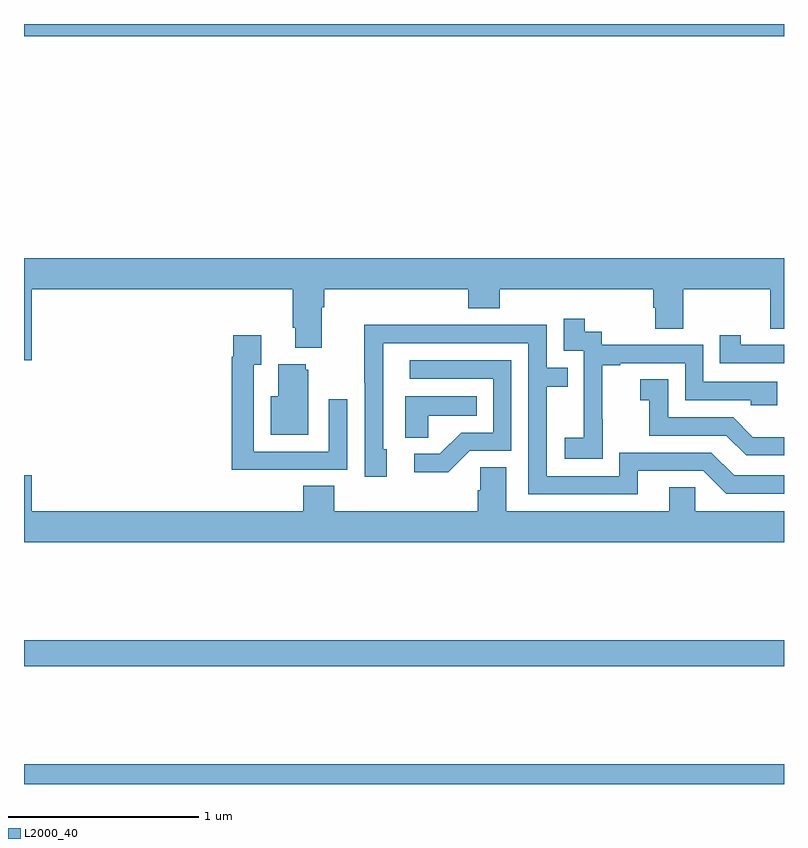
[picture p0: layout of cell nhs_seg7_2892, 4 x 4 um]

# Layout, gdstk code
import gdstk
lib = gdstk.Library(unit=1e-6, precision=1e-09)
def R(c, l, rs):  # rectangles x0, y0, x1, y1
    for r in rs: c.add(gdstk.rectangle(r[:2], r[2:], *l))
def P(c, l, *ps):  # polygons
    for p in ps: c.add(gdstk.Polygon(p, *l))
L2000_40 = (2000, 40)

nhs_seg7_2892 = lib.new_cell('nhs_seg7_2892')
R(nhs_seg7_2892, L2000_40, [(297,1010,301,1010.104), (297,1010.62,301,1010.756), (297,1013.936,301,1014)])
P(nhs_seg7_2892, L2000_40, [(297,1012.23),(297.04,1012.23),(297.04,1012.604),(298.415,1012.604),(298.415,1012.402),(298.427,1012.402),(298.427,1012.295),(298.567,1012.295),(298.567,1012.508),(298.58,1012.508),(298.58,1012.604),(299.339,1012.604),(299.339,1012.505),(299.504,1012.505),(299.504,1012.604),(300.311,1012.604),(300.311,1012.506),(300.323,1012.506),(300.323,1012.396),(300.471,1012.396),(300.471,1012.604),(300.928,1012.604),(300.928,1012.396),(301,1012.396),(301,1012.768),(297,1012.768)],
  [(300.045,1011.919),(300.044,1011.919),(300.044,1012.203),(300.139,1012.203),(300.139,1012.215),(300.48,1012.215),(300.48,1012.02),(300.825,1012.02),(300.825,1011.993),(300.965,1011.993),(300.965,1012.116),(300.576,1012.116),(300.576,1012.311),(300.042,1012.311),(300.042,1012.38),(299.95,1012.38),(299.95,1012.45),(299.841,1012.45),(299.841,1012.281),(299.946,1012.281),(299.946,1012.052),(299.945,1012.052),(299.945,1011.823),(299.847,1011.823),(299.847,1011.713),(300.045,1011.713)],
  [(300.229,1011.648),(300.576,1011.648),(300.696,1011.528),(301,1011.528),(301,1011.624),(300.738,1011.624),(300.618,1011.744),(300.132,1011.744),(300.132,1011.621),(299.751,1011.621),(299.751,1012.09),(299.861,1012.09),(299.861,1012.191),(299.751,1012.191),(299.751,1012.416),(299.255,1012.416),(299.255,1012.418),(298.792,1012.418),(298.792,1012.111),(298.794,1012.111),(298.794,1011.618),(298.909,1011.618),(298.909,1011.762),(298.89,1011.762),(298.89,1012.32),(299.655,1012.32),(299.655,1011.525),(300.229,1011.525)],
  [(301,1012.311),(300.772,1012.311),(300.772,1012.363),(300.661,1012.363),(300.661,1012.215),(301,1012.215)],
  [(298.385,1011.654),(298.701,1011.654),(298.701,1012.024),(298.605,1012.024),(298.605,1011.75),(298.209,1011.75),(298.209,1012.207),(298.249,1012.207),(298.249,1012.363),(298.101,1012.363),(298.101,1012.25),(298.093,1012.25),(298.093,1011.653),(298.385,1011.653)],
  [(299.346,1011.753),(299.565,1011.753),(299.565,1012.23),(299.031,1012.23),(299.031,1012.134),(299.469,1012.134),(299.469,1011.849),(299.3,1011.849),(299.189,1011.738),(299.055,1011.738),(299.055,1011.641),(299.233,1011.641)],
  [(298.495,1012.179),(298.484,1012.179),(298.484,1012.21),(298.337,1012.21),(298.337,1012.042),(298.298,1012.042),(298.298,1011.839),(298.495,1011.839)],
  [(301,1011.826),(300.836,1011.826),(300.732,1011.93),(300.39,1011.93),(300.39,1012.129),(300.243,1012.129),(300.243,1012.019),(300.292,1012.019),(300.292,1011.834),(300.695,1011.834),(300.8,1011.729),(301,1011.729)],
  [(299.127,1011.938),(299.384,1011.938),(299.384,1012.042),(299.006,1012.042),(299.006,1011.823),(299.127,1011.823)],
  [(301,1011.436),(300.534,1011.436),(300.534,1011.563),(300.395,1011.563),(300.395,1011.436),(299.539,1011.436),(299.539,1011.668),(299.4,1011.668),(299.4,1011.545),(299.387,1011.545),(299.387,1011.436),(298.634,1011.436),(298.634,1011.569),(298.469,1011.569),(298.469,1011.436),(297.04,1011.436),(297.04,1011.625),(297,1011.625),(297,1011.272),(301,1011.272)])

lib.write_gds('nhs_seg7_2892.gds')
